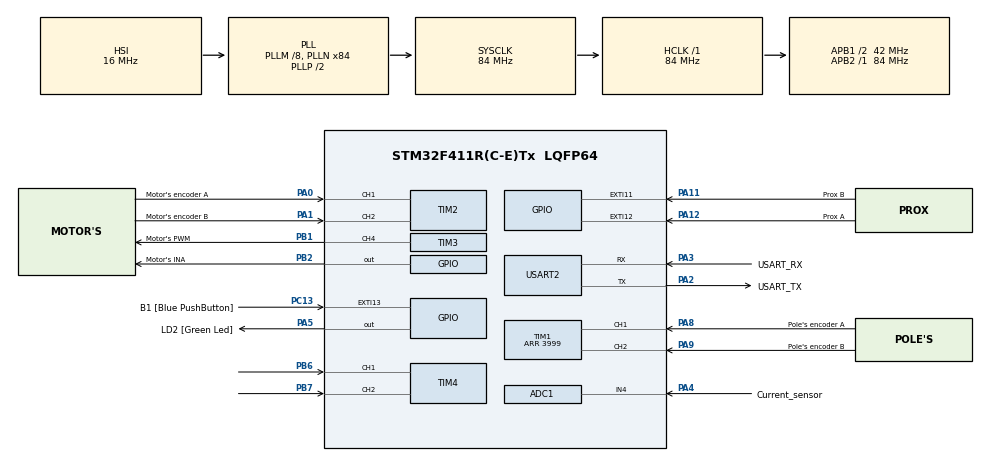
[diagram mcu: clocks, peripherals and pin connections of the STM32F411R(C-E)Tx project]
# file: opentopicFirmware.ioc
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ADC1.Channel-1\#ChannelRegularConversion=ADC_CHANNEL_4
ADC1.ContinuousConvMode=ENABLE
ADC1.DMAContinuousRequests=ENABLE
ADC1.NbrOfConversion=1
ADC1.NbrOfConversionFlag=1
ADC1.Rank-1\#ChannelRegularConversion=1
ADC1.SamplingTime-1\#ChannelRegularConversion=ADC_SAMPLETIME_56CYCLES
ADC1.ScanConvMode=ENABLE
ADC1.master=1
Dma.ADC1.1.Direction=DMA_PERIPH_TO_MEMORY
Dma.ADC1.1.FIFOMode=DMA_FIFOMODE_DISABLE
Dma.ADC1.1.Instance=DMA2_Stream0
Dma.ADC1.1.MemDataAlignment=DMA_MDATAALIGN_HALFWORD
Dma.ADC1.1.MemInc=DMA_MINC_ENABLE
Dma.ADC1.1.Mode=DMA_CIRCULAR
Dma.ADC1.1.PeriphDataAlignment=DMA_PDATAALIGN_HALFWORD
Dma.ADC1.1.PeriphInc=DMA_PINC_DISABLE
Dma.ADC1.1.Priority=DMA_PRIORITY_LOW
Dma.Request0=USART2_TX
Dma.Request1=ADC1
Dma.Request2=USART2_RX
Dma.USART2_RX.2.Direction=DMA_PERIPH_TO_MEMORY
Dma.USART2_RX.2.FIFOMode=DMA_FIFOMODE_DISABLE
Dma.USART2_RX.2.Instance=DMA1_Stream5
Dma.USART2_RX.2.MemDataAlignment=DMA_MDATAALIGN_BYTE
Dma.USART2_RX.2.MemInc=DMA_MINC_ENABLE
Dma.USART2_RX.2.Mode=DMA_CIRCULAR
Dma.USART2_RX.2.PeriphDataAlignment=DMA_PDATAALIGN_BYTE
Dma.USART2_RX.2.PeriphInc=DMA_PINC_DISABLE
Dma.USART2_RX.2.Priority=DMA_PRIORITY_LOW
Dma.USART2_TX.0.Direction=DMA_MEMORY_TO_PERIPH
Dma.USART2_TX.0.FIFOMode=DMA_FIFOMODE_DISABLE
Dma.USART2_TX.0.Instance=DMA1_Stream6
Dma.USART2_TX.0.MemDataAlignment=DMA_MDATAALIGN_BYTE
Dma.USART2_TX.0.MemInc=DMA_MINC_ENABLE
Dma.USART2_TX.0.Mode=DMA_NORMAL
Dma.USART2_TX.0.PeriphDataAlignment=DMA_PDATAALIGN_BYTE
Dma.USART2_TX.0.PeriphInc=DMA_PINC_DISABLE
Dma.USART2_TX.0.Priority=DMA_PRIORITY_LOW
Mcu.Family=STM32F4
Mcu.Name=STM32F411R(C-E)Tx
Mcu.Package=LQFP64
NVIC.DMA1_Stream5_IRQn=true\:0\:0\:false\:false\:true\:false\:true\:true
NVIC.DMA1_Stream6_IRQn=true\:0\:0\:false\:false\:true\:false\:true\:true
NVIC.DMA2_Stream0_IRQn=true\:0\:0\:false\:false\:true\:false\:true\:true
NVIC.EXTI15_10_IRQn=true\:0\:0\:false\:false\:true\:true\:true\:true
NVIC.PriorityGroup=NVIC_PRIORITYGROUP_0
NVIC.TIM2_IRQn=true\:0\:0\:false\:false\:true\:true\:true\:true
NVIC.TIM3_IRQn=true\:0\:0\:false\:false\:true\:true\:true\:true
NVIC.USART2_IRQn=true\:0\:0\:false\:false\:true\:true\:true\:true
PA0-WKUP.GPIO_Label=Motor's encoder A
PA0-WKUP.GPIO_PuPd=GPIO_PULLUP
PA0-WKUP.Signal=S_TIM2_CH1_ETR
PA1.GPIO_Label=Motor's encoder B
PA1.GPIO_PuPd=GPIO_PULLUP
PA1.Signal=S_TIM2_CH2
PA11.GPIO_Label=Prox B
PA11.GPIO_ModeDefaultEXTI=GPIO_MODE_IT_FALLING
PA11.Signal=GPXTI11
PA12.GPIO_Label=Prox A
PA12.GPIO_ModeDefaultEXTI=GPIO_MODE_IT_FALLING
PA12.Signal=GPXTI12
PA13.GPIO_Label=TMS
PA13.Mode=Serial_Wire
PA13.Signal=SYS_JTMS-SWDIO
PA14.GPIO_Label=TCK
PA14.Mode=Serial_Wire
PA14.Signal=SYS_JTCK-SWCLK
PA2.GPIO_Label=USART_TX
PA2.Mode=Asynchronous
PA2.Signal=USART2_TX
PA3.GPIO_Label=USART_RX
PA3.Mode=Asynchronous
PA3.Signal=USART2_RX
PA4.GPIO_Label=Current_sensor
PA4.Signal=ADCx_IN4
PA5.GPIO_Label=LD2 [Green Led]
PA5.Signal=GPIO_Output
PA8.GPIO_Label=Pole's encoder A
PA8.GPIO_PuPd=GPIO_PULLUP
PA8.Signal=S_TIM1_CH1
PA9.GPIO_Label=Pole's encoder B
PA9.GPIO_PuPd=GPIO_PULLUP
PA9.Signal=S_TIM1_CH2
PB1.GPIO_Label=Motor's PWM
PB1.Signal=S_TIM3_CH4
PB2.GPIO_Label=Motor's INA
PB2.Signal=GPIO_Output
PB3.GPIO_Label=SWO
PB3.Signal=SYS_JTDO-SWO
PB6.Signal=S_TIM4_CH1
PB7.Signal=S_TIM4_CH2
PC13-ANTI_TAMP.GPIO_Label=B1 [Blue PushButton]
PC13-ANTI_TAMP.GPIO_ModeDefaultEXTI=GPIO_MODE_IT_FALLING
PC13-ANTI_TAMP.Signal=GPXTI13
PC14-OSC32_IN.Mode=LSE-External-Oscillator
PC14-OSC32_IN.Signal=RCC_OSC32_IN
PC15-OSC32_OUT.Mode=LSE-External-Oscillator
PC15-OSC32_OUT.Signal=RCC_OSC32_OUT
PH0\ -\ OSC_IN.Mode=HSE-External-Clock-Source
PH0\ -\ OSC_IN.Signal=RCC_OSC_IN
PH1\ -\ OSC_OUT.Mode=HSE-External-Clock-Source
PH1\ -\ OSC_OUT.Signal=RCC_OSC_OUT
ProjectManager.HeapSize=0x200
ProjectManager.StackSize=0x400
ProjectManager.TargetToolchain=STM32CubeIDE
RCC.48MHZClocksFreq_Value=42000000
RCC.AHBFreq_Value=84000000
RCC.APB1CLKDivider=RCC_HCLK_DIV2
RCC.APB1Freq_Value=42000000
RCC.APB1TimFreq_Value=84000000
RCC.APB2Freq_Value=84000000
RCC.APB2TimFreq_Value=84000000
RCC.CortexFreq_Value=84000000
RCC.FLatency-AdvancedSettings=FLASH_LATENCY_2
RCC.HCLKFreq_Value=84000000
RCC.HSE_VALUE=8000000
RCC.HSI_VALUE=16000000
RCC.PLLM=8
RCC.PLLN=84
RCC.SYSCLKFreq_VALUE=84000000
RCC.SYSCLKSource=RCC_SYSCLKSOURCE_PLLCLK
RCC.VCOOutputFreq_Value=168000000
SH.ADCx_IN4.0=ADC1_IN4,IN4
SH.S_TIM1_CH1.0=TIM1_CH1,Encoder_Interface
SH.S_TIM1_CH2.0=TIM1_CH2,Encoder_Interface
SH.S_TIM2_CH1_ETR.0=TIM2_CH1,Encoder_Interface
SH.S_TIM2_CH2.0=TIM2_CH2,Encoder_Interface
SH.S_TIM3_CH4.0=TIM3_CH4,PWM Generation4 CH4
SH.S_TIM4_CH1.0=TIM4_CH1,Encoder_Interface
SH.S_TIM4_CH2.0=TIM4_CH2,Encoder_Interface
TIM1.EncoderMode=TIM_ENCODERMODE_TI12
TIM1.Period=3999
TIM2.EncoderMode=TIM_ENCODERMODE_TI12
TIM3.Channel-PWM\ Generation4\ CH4=TIM_CHANNEL_4
TIM3.Period=49999
TIM4.EncoderMode=TIM_ENCODERMODE_TI12
USART2.VirtualMode=VM_ASYNC
VP_TIM3_VS_ClockSourceINT.Mode=Internal
board=NUCLEO-F411RE

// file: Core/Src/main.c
/* USER CODE BEGIN Header */
/**
  ******************************************************************************
  * @file           : main.c
  * @brief          : Main program body
  ******************************************************************************
  * @attention
  *
  * Copyright (c) 2024 STMicroelectronics.
  * All rights reserved.
  *
  * This software is licensed under terms that can be found in the LICENSE file
  * in the root directory of this software component.
  * If no LICENSE file comes with this software, it is provided AS-IS.
  *
  ******************************************************************************
  */
/* USER CODE END Header */
#include "main.h"
#include "adc.h"
#include "dma.h"
#include "tim.h"
#include "usart.h"
#include "gpio.h"

/* USER CODE BEGIN Includes */
#include "Motor.h"
#include "Encoder.h"
#include "Proximity.h"
/* USER CODE END Includes */

/* USER CODE BEGIN PV */
//Motor
Motor Cart_motor;
MotorDir dir = CW;
float gain = 0.5;
//Encoders
Encoder Pole_encoder;
Encoder Cart_encoder;
//Proximity
Proximity Prox;
//UART Communication
uint8_t TxBuffer[11];
uint8_t RxBuffer[5];
/* USER CODE END PV */

void SystemClock_Config(void);
/* USER CODE BEGIN PFP */
void ToSimulink(uint8_t header, Encoder* pole_encoder, Encoder* cart_encoder);
/* USER CODE END PFP */

int main(void)
{

  /* MCU Configuration--------------------------------------------------------*/

  /* Reset of all peripherals, Initializes the Flash interface and the Systick. */
  HAL_Init();

  /* Configure the system clock */
  SystemClock_Config();

  /* Initialize all configured peripherals */
  MX_GPIO_Init();
  MX_DMA_Init();
  MX_USART2_UART_Init();
  MX_TIM1_Init();
  MX_TIM2_Init();
  MX_TIM3_Init();
  MX_ADC1_Init();
  MX_TIM4_Init();
  /* USER CODE BEGIN 2 */
  //Star UART in DMA mode
  HAL_UART_Receive_DMA(&huart2, RxBuffer, 4);
  //Start Timer
  HAL_TIM_PWM_Start(&htim3, TIM_CHANNEL_4);						//Start Timer3 PWM mode
  HAL_TIM_Encoder_Start(&htim1, TIM_CHANNEL_1|TIM_CHANNEL_2);	//Start Timer1 QEI mmode
  HAL_TIM_Encoder_Start(&htim2, TIM_CHANNEL_1|TIM_CHANNEL_2);	//Start Timer2 QEI mode
  //Initiate Function
  Encoder_init(&Pole_encoder, &htim1, 100);
  Encoder_init(&Cart_encoder, &htim2, 100);
  Motor_init(&Cart_motor, &htim3);
  Proximity_init(&Prox);

  /* USER CODE END 2 */

  /* Infinite loop */
  while (1)
  {

    /* USER CODE BEGIN 3 */
	  static uint32_t timestamp = 0;

	  if(HAL_GetTick()>=timestamp)
	  {
			timestamp = HAL_GetTick() + 10; // 100 hz
			Motor_run(&Cart_motor);

			Pole_pulse2degree(&Pole_encoder);
			Encoder_getFeedback(&Pole_encoder);
			Encoder_getFeedback(&Cart_encoder);

			ToSimulink(61, &Pole_encoder, &Cart_encoder);

	  }

  }
  /* USER CODE END 3 */
}

void SystemClock_Config(void)
{
  RCC_OscInitTypeDef RCC_OscInitStruct = {0};
  RCC_ClkInitTypeDef RCC_ClkInitStruct = {0};

  /** Configure the main internal regulator output voltage
  */
  __HAL_RCC_PWR_CLK_ENABLE();
  __HAL_PWR_VOLTAGESCALING_CONFIG(PWR_REGULATOR_VOLTAGE_SCALE1);

  /** Initializes the RCC Oscillators according to the specified parameters
  * in the RCC_OscInitTypeDef structure.
  */
  RCC_OscInitStruct.OscillatorType = RCC_OSCILLATORTYPE_HSI;
  RCC_OscInitStruct.HSIState = RCC_HSI_ON;
  RCC_OscInitStruct.HSICalibrationValue = RCC_HSICALIBRATION_DEFAULT;
  RCC_OscInitStruct.PLL.PLLState = RCC_PLL_ON;
  RCC_OscInitStruct.PLL.PLLSource = RCC_PLLSOURCE_HSI;
  RCC_OscInitStruct.PLL.PLLM = 8;
  RCC_OscInitStruct.PLL.PLLN = 84;
  RCC_OscInitStruct.PLL.PLLP = RCC_PLLP_DIV2;
  RCC_OscInitStruct.PLL.PLLQ = 4;
  if (HAL_RCC_OscConfig(&RCC_OscInitStruct) != HAL_OK)
  {
    Error_Handler();
  }

  /** Initializes the CPU, AHB and APB buses clocks
  */
  RCC_ClkInitStruct.ClockType = RCC_CLOCKTYPE_HCLK|RCC_CLOCKTYPE_SYSCLK
                              |RCC_CLOCKTYPE_PCLK1|RCC_CLOCKTYPE_PCLK2;
  RCC_ClkInitStruct.SYSCLKSource = RCC_SYSCLKSOURCE_PLLCLK;
  RCC_ClkInitStruct.AHBCLKDivider = RCC_SYSCLK_DIV1;
  RCC_ClkInitStruct.APB1CLKDivider = RCC_HCLK_DIV2;
  RCC_ClkInitStruct.APB2CLKDivider = RCC_HCLK_DIV1;

  if (HAL_RCC_ClockConfig(&RCC_ClkInitStruct, FLASH_LATENCY_2) != HAL_OK)
  {
    Error_Handler();
  }
}

/* USER CODE BEGIN 4 */
void ToSimulink(uint8_t header, Encoder* pole_encoder, Encoder* cart_encoder)
{
	//Transmit low level data to simulink by UART

	/* create data frame START*/
	TxBuffer[0] = header; // header
	//pole position
	TxBuffer[1] = pole_encoder->QEI_read & 0xff;
	TxBuffer[2] = (pole_encoder->QEI_read & 0xff00) >> 8;
	//pole difference position
	TxBuffer[3] = pole_encoder->diff_deg & 0xff;
	TxBuffer[4] = (pole_encoder->diff_deg & 0xff00) >> 8;
	//cart position
	TxBuffer[5] = cart_encoder->QEI_read & 0xff;
	TxBuffer[6] = (cart_encoder->QEI_read & 0xff00) >> 8;
	//cart difference position
	TxBuffer[7] = cart_encoder->diff_QEI & 0xff;
	TxBuffer[8] = (cart_encoder->diff_QEI & 0xff00) >> 8;

	TxBuffer[9] = 10; // /n
	/* create data frame END*/

	//transmit data
	HAL_UART_Transmit_DMA(&huart2,TxBuffer, 10);
}

void HAL_UART_RxCpltCallback(UART_HandleTypeDef *huart)
{
	//Recieve data from simulink
	if(huart == &huart2)
	{
		if(RxBuffer[0] == 62)
		{
			Motor_setPWM(&Cart_motor, (RxBuffer[1]<<8)|RxBuffer[2]);
			if(RxBuffer[3]==1)
			{
				Motor_setDir(&Cart_motor, CCW);
			}
			else if(RxBuffer[3]==2)
			{
				Motor_setDir(&Cart_motor, CW);
			}
		}
	}
}

void HAL_GPIO_EXTI_Callback(uint16_t GPIO_Pin)
{
	/* proximity interrupt START*/
	if (GPIO_Pin == GPIO_PIN_11)// proximity B
	{
		Prox.Prox_B = ~Prox.Prox_B;
		Motor_setDir(&Cart_motor, Stop);
	}
	if (GPIO_Pin == GPIO_PIN_12)// proximity A
	{
		Prox.Prox_A = ~Prox.Prox_A;
		Motor_setDir(&Cart_motor, Stop);
	}
}

/* USER CODE END 4 */

void Error_Handler(void)
{
  __disable_irq();
  while (1)
  {
  }
}
